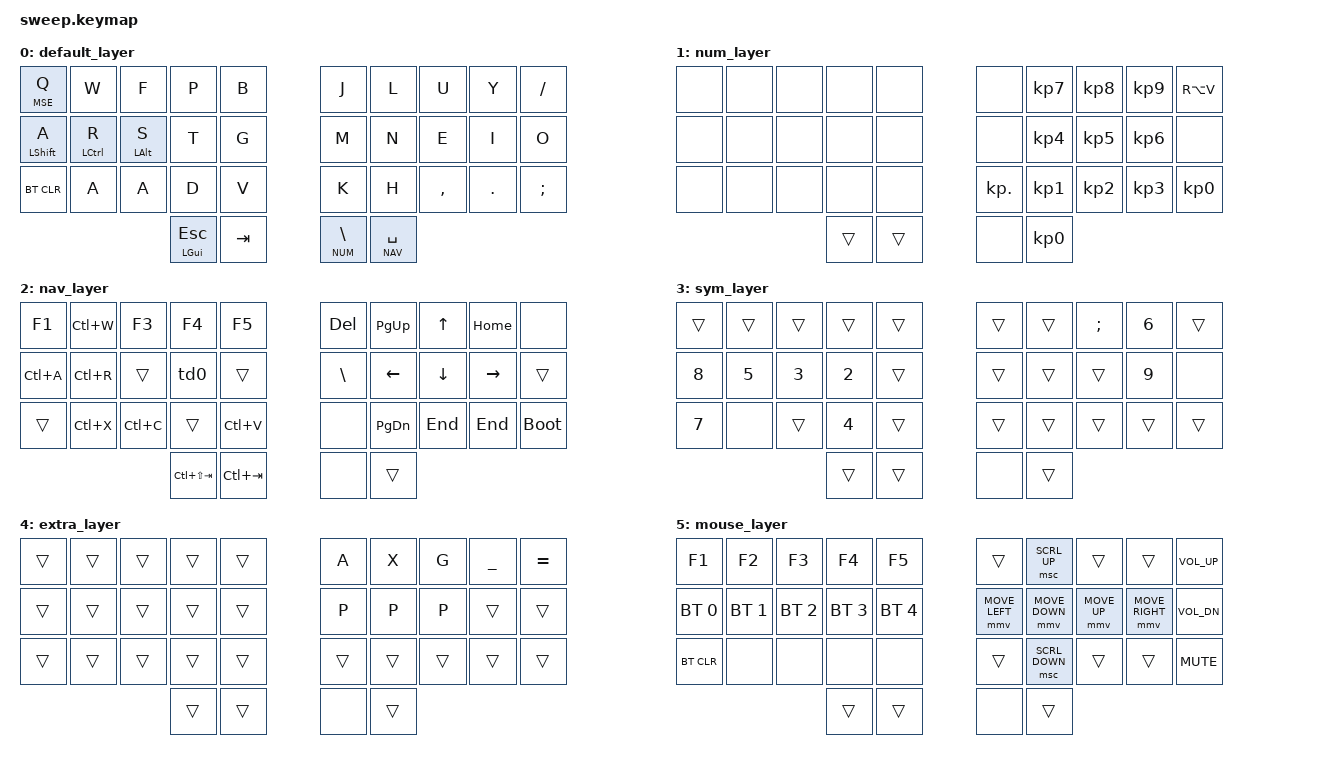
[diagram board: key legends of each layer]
#include <behaviors.dtsi>
#include <dt-bindings/zmk/keys.h>
#include <dt-bindings/zmk/mouse.h>
#include <dt-bindings/zmk/bt.h>

#define DEF 0
#define NUM 1
#define NAV 2
#define SYM 3
#define EXT 4
#define MSE 5

/ {
    behaviors {
        // tap: {    double-tap: AltGr+Q (= \ na CZ rozložení)
        td0: tap_dance_0 {
            compatible = "zmk,behavior-tap-dance";
            #binding-cells = <0>;
            tapping-term-ms = <300>;
            bindings = <&kp LBRC>, <&kp RA(Q)>;
        };
    };

    combos {
        compatible = "zmk,combos";

        combo_enter {
            timeout-ms = <50>;
            key-positions = <23 24>;   // N + E
            bindings = <&kp ENTER>;
        };

        combo_esc {
            timeout-ms = <50>;
            key-positions = <7 8>;     // S + T
            bindings = <&kp ESC>;
        };
    };

    keymap {
        compatible = "zmk,keymap";

        // ┌───────┬───────┬───────┬───────┬───────╥───────┬───────┬───────┬───────┬───────┐
        // │   Q   │   W   │   F   │   P   │   B   ║   J   │   L   │   U   │   Y   │   /   │
        // │  MSE  │       │       │       │       ║       │       │       │       │       │
        // ├───────┼───────┼───────┼───────┼───────╫───────┼───────┼───────┼───────┼───────┤
        // │   A   │   R   │   S   │   T   │   G   ║   M   │   N   │   E   │   I   │   O   │
        // │ LSHFT │ LCTRL │  LALT │       │       ║       │       │       │       │       │
        // ├───────┼───────┼───────┼───────┼───────╫───────┼───────┼───────┼───────┼───────┤
        // │   Z   │   X   │   C   │   D   │   V   ║   K   │   H   │   ,   │   .   │   ;   │
        // ├───────┴───────┼───────┼───────┤       ╠───────┼───────┼───────┴───────┴───────┤
        // │               │  ESC  │  TAB  │       ║   \   │ SPACE │                       │
        // │               │ LGUI  │       │       ║  NUM  │  NAV  │                       │
        // └───────────────┴───────┴───────┘       ╚───────┴───────┘
        default_layer {
            bindings = <
                &lt MSE Q    &kp W        &kp F       &kp P    &kp B      &kp J          &kp L    &kp U     &kp Y    &kp SLASH
                &mt LSHFT A  &mt LCTRL R  &mt LALT S  &kp T    &kp G      &kp M          &kp N    &kp E     &kp I    &kp O
                &bt BT_CLR        &kp A        &kp A       &kp D    &kp V      &kp K          &kp H    &kp COMMA &kp DOT  &kp SEMI
                                          &mt LGUI ESC &kp TAB            &lt NUM BSLH   &lt NAV SPACE
            >;
        };

        // ┌───────┬───────┬───────┬───────┬───────╥───────┬───────┬───────┬───────┬───────┐
        // │       │       │       │       │       ║       │   7   │   8   │   9   │ AltGr │
        // │       │       │       │       │       ║       │       │       │       │  +V   │
        // ├───────┼───────┼───────┼───────┼───────╫───────┼───────┼───────┼───────┼───────┤
        // │       │       │       │       │       ║       │   4   │   5   │   6   │       │
        // ├───────┼───────┼───────┼───────┼───────╫───────┼───────┼───────┼───────┼───────┤
        // │       │       │       │       │       ║   .   │   1   │   2   │   3   │   0   │
        // ├───────────────┼───────┼───────╫───────┼───────┤
        // │               │       │       ║       │   0   │
        num_layer {
            bindings = <
                &none   &none   &none   &none   &none      &none       &kp KP_N7  &kp KP_N8  &kp KP_N9  &kp RA(V)
                &none   &none   &none   &none   &none      &none       &kp KP_N4  &kp KP_N5  &kp KP_N6  &none
                &none   &none   &none   &none   &none      &kp KP_DOT  &kp KP_N1  &kp KP_N2  &kp KP_N3  &kp KP_N0
                                &trans  &trans             &none       &kp KP_N0
            >;
        };

        // ┌───────┬───────┬───────┬───────┬───────╥───────┬───────┬───────┬───────┬───────┐
        // │  F1   │ Ctrl  │  F3   │  F4   │  F5   ║  DEL  │ PgUp  │  UP   │ Home  │       │
        // │       │  +W   │       │       │       ║       │       │       │       │       │
        // ├───────┼───────┼───────┼───────┼───────╫───────┼───────┼───────┼───────┼───────┤
        // │ Ctrl  │ Ctrl  │       │  TD0  │       ║   \   │ LEFT  │ DOWN  │ RIGHT │       │
        // │  +A   │  +R   │       │       │       ║       │       │       │       │       │
        // ├───────┼───────┼───────┼───────┼───────╫───────┼───────┼───────┼───────┼───────┤
        // │       │ Ctrl  │ Ctrl  │       │ Ctrl  ║       │ PgDn  │  End  │  End  │ BOOT  │
        // │       │  +X   │  +C   │       │  +V   ║       │       │       │       │LOADER │
        // ├───────────────┼───────┼───────╫───────┼───────┤
        // │               │CS+Tab │C+Tab  ║       │       │
        nav_layer {
            bindings = <
                &kp F1      &kp LC(W)  &kp F3   &kp F4         &kp F5       &kp DEL   &kp PG_UP  &kp UP    &kp HOME  &none
                &kp LC(A)   &kp LC(R)  &trans   &td0           &trans       &kp BSLH  &kp LEFT   &kp DOWN  &kp RIGHT &trans
                &trans      &kp LC(X)  &kp LC(C) &trans        &kp LC(V)    &none     &kp PG_DN  &kp END   &kp END   &bootloader
                                       &kp LC(LS(TAB)) &kp LC(TAB)         &none     &trans
            >;
        };

        // Symboly / čísla (layer 3 z Vial)
        sym_layer {
            bindings = <
                &trans   &trans  &trans  &trans   &trans     &trans  &trans  &kp SEMI  &kp N6  &trans
                &kp N8   &kp N5  &kp N3  &kp N2   &trans     &trans  &trans  &trans    &kp N9  &none
                &kp N7   &none   &trans  &kp N4   &trans     &trans  &trans  &trans    &trans  &trans
                                 &trans  &trans              &none   &trans
            >;
        };

        // Extra layer (layer 4 z Vial)
        extra_layer {
            bindings = <
                &trans  &trans  &trans  &trans  &trans     &kp A   &kp X  &kp G   &kp UNDER  &kp EQUAL
                &trans  &trans  &trans  &trans  &trans     &kp P   &kp P  &kp P   &trans     &trans
                &trans  &trans  &trans  &trans  &trans     &trans  &trans &trans  &trans     &trans
                                &trans  &trans             &none   &trans
            >;
        };

        // ┌───────┬───────┬───────┬───────┬───────╥───────┬───────┬───────┬───────┬───────┐
        // │  F1   │  F2   │  F3   │  F4   │  F5   ║       │ WH_UP │       │       │ VOL+  │
        // ├───────┼───────┼───────┼───────┼───────╫───────┼───────┼───────┼───────┼───────┤
        // │ BT 0  │ BT 1  │ BT 2  │ BT 3  │ BT 4  ║ MS_L  │ MS_D  │ MS_U  │ MS_R  │ VOL-  │
        // ├───────┼───────┼───────┼───────┼───────╫───────┼───────┼───────┼───────┼───────┤
        // │BT_CLR │       │       │       │       ║       │ WH_DN │       │       │ MUTE  │
        // ├───────────────┼───────┼───────╫───────┼───────┤
        // │               │       │       ║       │       │
        // BT_SEL = přepni na profil (pokud není spárovaný, začne vysílat = pairing mode)
        // BT_CLR = odpáruj aktuální profil a začni znovu vysílat
        mouse_layer {
            bindings = <
                &kp F1        &kp F2        &kp F3        &kp F4        &kp F5         &trans          &msc SCRL_UP    &trans          &trans           &kp C_VOL_UP
                &bt BT_SEL 0  &bt BT_SEL 1  &bt BT_SEL 2  &bt BT_SEL 3  &bt BT_SEL 4   &mmv MOVE_LEFT  &mmv MOVE_DOWN  &mmv MOVE_UP    &mmv MOVE_RIGHT  &kp C_VOL_DN
                &bt BT_CLR    &none         &none         &none         &none          &trans          &msc SCRL_DOWN  &trans          &trans           &kp C_MUTE
                                            &trans        &trans                       &none           &trans
            >;
        };
    };
};
